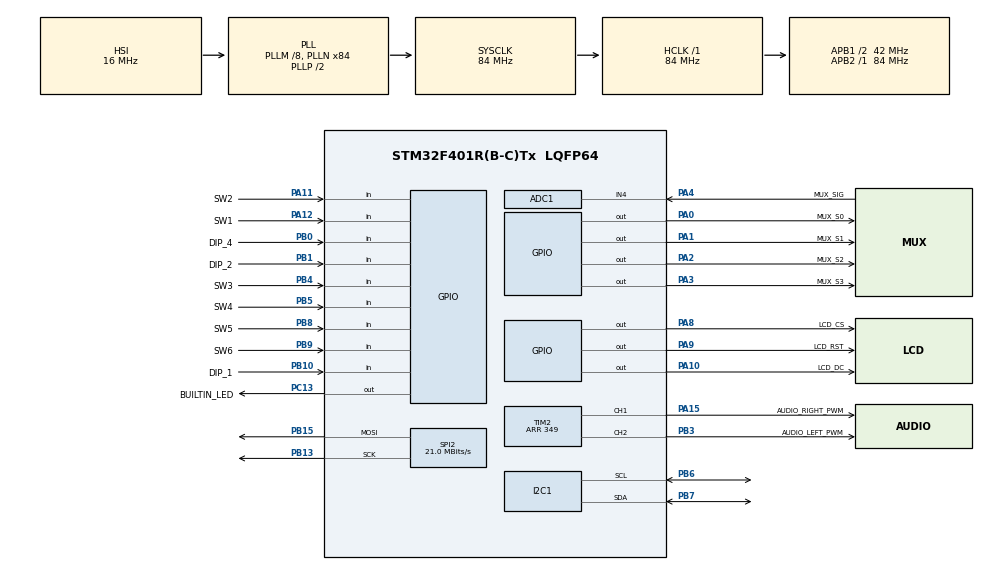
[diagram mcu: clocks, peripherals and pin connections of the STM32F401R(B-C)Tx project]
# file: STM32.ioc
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ADC1.Channel-1\#ChannelRegularConversion=ADC_CHANNEL_4
ADC1.NbrOfConversion=1
ADC1.NbrOfConversionFlag=1
ADC1.Rank-1\#ChannelRegularConversion=1
ADC1.SamplingTime-1\#ChannelRegularConversion=ADC_SAMPLETIME_3CYCLES
ADC1.master=1
Dma.I2C1_TX.0.Direction=DMA_MEMORY_TO_PERIPH
Dma.I2C1_TX.0.FIFOMode=DMA_FIFOMODE_DISABLE
Dma.I2C1_TX.0.Instance=DMA1_Stream6
Dma.I2C1_TX.0.MemDataAlignment=DMA_MDATAALIGN_BYTE
Dma.I2C1_TX.0.MemInc=DMA_MINC_ENABLE
Dma.I2C1_TX.0.Mode=DMA_NORMAL
Dma.I2C1_TX.0.PeriphDataAlignment=DMA_PDATAALIGN_BYTE
Dma.I2C1_TX.0.PeriphInc=DMA_PINC_DISABLE
Dma.I2C1_TX.0.Priority=DMA_PRIORITY_HIGH
Dma.Request0=I2C1_TX
I2C1.I2C_Mode=I2C_Fast
Mcu.Family=STM32F4
Mcu.Name=STM32F401R(B-C)Tx
Mcu.Package=LQFP64
NVIC.DMA1_Stream6_IRQn=true\:0\:0\:false\:false\:true\:false\:true\:true
NVIC.I2C1_EV_IRQn=true\:2\:0\:true\:false\:true\:true\:true\:true
NVIC.PriorityGroup=NVIC_PRIORITYGROUP_4
NVIC.TIM3_IRQn=true\:6\:0\:true\:false\:true\:true\:true\:true
NVIC.TIM4_IRQn=true\:1\:0\:true\:false\:true\:true\:true\:true
PA0-WKUP.GPIO_Label=MUX_S0
PA0-WKUP.Signal=GPIO_Output
PA1.GPIO_Label=MUX_S1
PA1.Signal=GPIO_Output
PA10.GPIO_Label=LCD_DC
PA10.GPIO_Speed=GPIO_SPEED_FREQ_HIGH
PA10.Signal=GPIO_Output
PA11.GPIO_Label=SW2
PA11.GPIO_PuPd=GPIO_PULLUP
PA11.Signal=GPIO_Input
PA12.GPIO_Label=SW1
PA12.GPIO_PuPd=GPIO_PULLUP
PA12.Signal=GPIO_Input
PA15.GPIO_Label=AUDIO_RIGHT_PWM
PA15.Signal=S_TIM2_CH1_ETR
PA2.GPIO_Label=MUX_S2
PA2.Signal=GPIO_Output
PA3.GPIO_Label=MUX_S3
PA3.Signal=GPIO_Output
PA4.GPIO_Label=MUX_SIG
PA4.Signal=ADCx_IN4
PA8.GPIO_Label=LCD_CS
PA8.GPIO_Speed=GPIO_SPEED_FREQ_HIGH
PA8.Signal=GPIO_Output
PA9.GPIO_Label=LCD_RST
PA9.GPIO_Speed=GPIO_SPEED_FREQ_HIGH
PA9.Signal=GPIO_Output
PB0.GPIO_Label=DIP_4
PB0.GPIO_PuPd=GPIO_PULLUP
PB0.Signal=GPIO_Input
PB1.GPIO_Label=DIP_2
PB1.GPIO_PuPd=GPIO_PULLUP
PB1.Signal=GPIO_Input
PB10.GPIO_Label=DIP_1
PB10.GPIO_PuPd=GPIO_PULLUP
PB10.Signal=GPIO_Input
PB13.Mode=TX_Only_Simplex_Unidirect_Master
PB13.Signal=SPI2_SCK
PB15.Mode=TX_Only_Simplex_Unidirect_Master
PB15.Signal=SPI2_MOSI
PB3.GPIO_Label=AUDIO_LEFT_PWM
PB3.Signal=S_TIM2_CH2
PB4.GPIO_Label=SW3
PB4.GPIO_PuPd=GPIO_PULLUP
PB4.Signal=GPIO_Input
PB5.GPIO_Label=SW4
PB5.GPIO_PuPd=GPIO_PULLUP
PB5.Signal=GPIO_Input
PB6.Mode=I2C
PB6.Signal=I2C1_SCL
PB7.Mode=I2C
PB7.Signal=I2C1_SDA
PB8.GPIO_Label=SW5
PB8.GPIO_PuPd=GPIO_PULLUP
PB8.Signal=GPIO_Input
PB9.GPIO_Label=SW6
PB9.GPIO_PuPd=GPIO_PULLUP
PB9.Signal=GPIO_Input
PC13-ANTI_TAMP.GPIO_Label=BUILTIN_LED
PC13-ANTI_TAMP.Signal=GPIO_Output
ProjectManager.HeapSize=0x200
ProjectManager.StackSize=0x400
ProjectManager.TargetToolchain=STM32CubeIDE
RCC.48MHZClocksFreq_Value=42000000
RCC.AHBFreq_Value=84000000
RCC.APB1CLKDivider=RCC_HCLK_DIV2
RCC.APB1Freq_Value=42000000
RCC.APB1TimFreq_Value=84000000
RCC.APB2Freq_Value=84000000
RCC.APB2TimFreq_Value=84000000
RCC.CortexFreq_Value=84000000
RCC.HCLKFreq_Value=84000000
RCC.HSE_VALUE=25000000
RCC.HSI_VALUE=16000000
RCC.LSE_VALUE=32768
RCC.PLLM=8
RCC.PLLN=84
RCC.SYSCLKFreq_VALUE=84000000
RCC.SYSCLKSource=RCC_SYSCLKSOURCE_PLLCLK
RCC.VCOOutputFreq_Value=168000000
SH.ADCx_IN4.0=ADC1_IN4,IN4
SH.S_TIM2_CH1_ETR.0=TIM2_CH1,PWM Generation1 CH1
SH.S_TIM2_CH2.0=TIM2_CH2,PWM Generation2 CH2
SPI2.BaudRatePrescaler=SPI_BAUDRATEPRESCALER_2
SPI2.CalculateBaudRate=21.0 MBits/s
SPI2.Direction=SPI_DIRECTION_2LINES
SPI2.Mode=SPI_MODE_MASTER
SPI2.VirtualType=VM_MASTER
TIM2.Channel-PWM\ Generation1\ CH1=TIM_CHANNEL_1
TIM2.Channel-PWM\ Generation2\ CH2=TIM_CHANNEL_2
TIM2.OC1Preload_PWM=DISABLE
TIM2.OC2Preload_PWM=DISABLE
TIM2.OCFastMode_PWM-PWM\ Generation1\ CH1=TIM_OCFAST_ENABLE
TIM2.OCFastMode_PWM-PWM\ Generation2\ CH2=TIM_OCFAST_ENABLE
TIM2.OCMode_PWM-PWM\ Generation1\ CH1=TIM_OCMODE_PWM2
TIM2.OCMode_PWM-PWM\ Generation2\ CH2=TIM_OCMODE_PWM2
TIM2.Period=349
TIM3.Period=(10000-1)
TIM3.Prescaler=(84-1)
TIM4.Period=(84000/12)-1
VP_TIM2_VS_ClockSourceINT.Mode=Internal
VP_TIM3_VS_ClockSourceINT.Mode=Internal
VP_TIM4_VS_ClockSourceINT.Mode=Internal
board=custom

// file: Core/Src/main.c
/* USER CODE BEGIN Header */
/**
  ******************************************************************************
  * @file           : main.c
  * @brief          : Main program body
  ******************************************************************************
  * @attention
  *
  * Copyright (c) 2026 STMicroelectronics.
  * All rights reserved.
  *
  * This software is licensed under terms that can be found in the LICENSE file
  * in the root directory of this software component.
  * If no LICENSE file comes with this software, it is provided AS-IS.
  *
  ******************************************************************************
  */
/* USER CODE END Header */
#include "main.h"
#include "adc.h"
#include "dma.h"
#include "i2c.h"
#include "spi.h"
#include "tim.h"
#include "gpio.h"

/* USER CODE BEGIN Includes */
#include "waveform.h"
#include "voice_manager.h"
#include "synth_comms.h"
#include "mux_adc.h"
#include "controls.h"
#include "audio_out.h"
#include "metronome.h"
#include "sine_lookup.h"
#include "adsr.h"
#include "autoplay.h"
#include "ui.h"
#include "ui_data.h"

#include <math.h>
#include <stdio.h>
/* USER CODE END Includes */

/* USER CODE BEGIN PD */
//#define TEST_WITHOUT_SLAVE
/* USER CODE END PD */

/* USER CODE BEGIN PV */
#ifdef IS_MASTER
WaveformConfig waveform_config =
{
    .rise_pct   = 0.50f,
    .fall_pct   = 0.50f,
    .rise_shape = WAVE_SINE,
    .fall_shape = WAVE_SINE,
    .max_output = 349.0f,
    .midpoint = 0.25f
};

VolumeOscillationParam volume_oscillator_param = {
    .frequency = 1.0f/2.0f,
    .completion = 0.0f,
    .strength = 0.00f
};

Autoplay autoplay = {
  //C const isn't compile-time const, use C++, so here's a NULL :D
  .steps = NULL,
  .step_started_ms = 0,
  .length = 0,
  .index = 0,
  .playing = false
};
const int8_t autoplay_pause_index = -1;
static int8_t autoplay_song_index = autoplay_pause_index;

//Set with adsr_set_params() at startup and by controls_update_adsr()
AdsrParam adsr_param;

VoiceManager voice_manager;
MetronomeParam metronome;
//Master volume can be from 0.0 to 10.0x, overdrive woo
float master_volume = 1.0f;
#endif
/* USER CODE END PV */

void SystemClock_Config(void);

/* USER CODE BEGIN 0 */
#ifdef IS_MASTER
static void update_test_c_major_chord(uint32_t now_ms);
static void handle_autoplay_button_pressed(uint32_t now_ms);
static float ui_adsr_rate_to_seconds(float rate);
static float waveform_get_point_as_amplitude(float phase);
static void update_ui_data(void);
static void test_key_velocity(uint32_t now_ms);
#endif
#ifndef IS_MASTER
static void mock_update_keyframe(void);
#endif

void main_runtime_iter(void)
{
  static uint32_t last_poll = 0;
  static uint32_t last_controls_poll = 0;
  uint32_t now = HAL_GetTick();

  #ifdef IS_MASTER
  controls_poll_tap(&metronome, &volume_oscillator_param);
  if(now - last_controls_poll >= 20){
	  controls_update(&waveform_config, &volume_oscillator_param, &master_volume, &metronome);
  	  controls_update_adsr(&adsr_param);
  	  handle_autoplay_button_pressed(now);
  	  last_controls_poll = now;
  }
  #endif
  if (now - last_poll >= 20)
  {
    last_poll = now;
    #ifdef IS_MASTER
    #ifdef TEST_WITHOUT_SLAVE
    //test_key_velocity(now);
    update_test_c_major_chord(now);
    #endif
    if(!autoplay.playing){
      poll_slaves();
    	process_keys(&voice_manager, voice_manager_note_on, voice_manager_note_off, now);
    }
    #else
    #endif
  }
}

/* USER CODE END 0 */

int main(void)
{

  /* MCU Configuration--------------------------------------------------------*/

  /* Reset of all peripherals, Initializes the Flash interface and the Systick. */
  HAL_Init();

  /* Configure the system clock */
  SystemClock_Config();

  /* Initialize all configured peripherals */
  MX_GPIO_Init();
  MX_DMA_Init();
  MX_TIM4_Init();
  MX_ADC1_Init();
  MX_I2C1_Init();
  MX_TIM2_Init();
  MX_TIM3_Init();
  MX_SPI2_Init();
  /* USER CODE BEGIN 2 */
  mux_adc_init();

  #ifdef IS_MASTER
  sine_lookup_init();
  adsr_set_params(&adsr_param, 0, 0, 1.0f, 0, AUDIO_SAMPLE_RATE_HZ);
  voice_manager_init(&voice_manager, AUDIO_SAMPLE_RATE_HZ, AUDIO_SAMPLE_RATE_HZ, &adsr_param);
  metronome_init(&metronome);
  audio_out_init(&voice_manager, &waveform_config, &volume_oscillator_param, &master_volume, &metronome);
  controls_init();
  HAL_TIM_PWM_Start(&htim2, TIM_CHANNEL_1);
  HAL_TIM_PWM_Start(&htim2, TIM_CHANNEL_2);
  HAL_TIM_Base_Start_IT(&htim3);
  HAL_TIM_Base_Start_IT(&htim4);
  set_audio_output_value(0, 0);
  mark_slaves_disconnected();
  ui_init();          /* boot screen first, so it shows during calibration */
  boot_calibrate();
  #else
  const uint32_t power_up_stabilise_ms = 100;
  HAL_Delay(power_up_stabilise_ms);
  uint8_t slave_id_from_dip = read_slave_id_from_dip();
  init_slave(slave_id_from_dip);
  //We rely on completed callback for self-calling and address changing, see request_slave_id_change()
  HAL_I2C_Slave_Transmit_DMA(&hi2c1,
                           (uint8_t *)&g_keyframe,
                           sizeof(g_keyframe));
  g_last_dma_complete_ms = HAL_GetTick();
  #endif

  #ifdef TEST_WITHOUT_SLAVE
  memset((void*)g_keys, 0, sizeof(g_keys));
  memset((void*)g_baseline, 0, sizeof(g_baseline));
  #endif

  /* USER CODE END 2 */

  /* Infinite loop */
  /* USER CODE BEGIN WHILE */
  while (1)
  {
    #ifdef IS_MASTER
    update_ui_data();
    ui_task();
    #else
    const uint8_t current_slave_id = read_slave_id_from_dip();
    if (current_slave_id != slave_id_from_dip) {
      slave_id_from_dip = current_slave_id;
      request_slave_id_change(slave_id_from_dip);
    }

    update_keyframe();

    if ((HAL_GetTick() - g_last_dma_complete_ms) > DMA_FREEZE_TIMEOUT_MS) {
      //Cannot rely on DMA completed callback to reset this, so will do manual DMA-bit disable
      CLEAR_BIT(hi2c1.Instance->CR2, I2C_CR2_DMAEN);
      I2C1_Reset();
      HAL_I2C_Slave_Transmit_DMA(&hi2c1,
                                 (uint8_t *)&g_keyframe,
                                 sizeof(g_keyframe));
      g_last_dma_complete_ms = HAL_GetTick();
      continue;
    }

    const volatile HAL_DMA_StateTypeDef dma_state = HAL_DMA_GetState(hi2c1.hdmatx);
    const volatile uint32_t dma_error = HAL_DMA_GetError(hi2c1.hdmatx);
    volatile const I2C_HandleTypeDef ref = hi2c1;
    if(dma_state);
    #endif

    /* USER CODE END WHILE */

  }
}

void SystemClock_Config(void)
{
  RCC_OscInitTypeDef RCC_OscInitStruct = {0};
  RCC_ClkInitTypeDef RCC_ClkInitStruct = {0};

  /** Configure the main internal regulator output voltage
  */
  __HAL_RCC_PWR_CLK_ENABLE();
  __HAL_PWR_VOLTAGESCALING_CONFIG(PWR_REGULATOR_VOLTAGE_SCALE2);

  /** Initializes the RCC Oscillators according to the specified parameters
  * in the RCC_OscInitTypeDef structure.
  */
  RCC_OscInitStruct.OscillatorType = RCC_OSCILLATORTYPE_HSI;
  RCC_OscInitStruct.HSIState = RCC_HSI_ON;
  RCC_OscInitStruct.HSICalibrationValue = RCC_HSICALIBRATION_DEFAULT;
  RCC_OscInitStruct.PLL.PLLState = RCC_PLL_ON;
  RCC_OscInitStruct.PLL.PLLSource = RCC_PLLSOURCE_HSI;
  RCC_OscInitStruct.PLL.PLLM = 8;
  RCC_OscInitStruct.PLL.PLLN = 84;
  RCC_OscInitStruct.PLL.PLLP = RCC_PLLP_DIV2;
  RCC_OscInitStruct.PLL.PLLQ = 4;
  if (HAL_RCC_OscConfig(&RCC_OscInitStruct) != HAL_OK)
  {
    Error_Handler();
  }

  /** Initializes the CPU, AHB and APB buses clocks
  */
  RCC_ClkInitStruct.ClockType = RCC_CLOCKTYPE_HCLK|RCC_CLOCKTYPE_SYSCLK
                              |RCC_CLOCKTYPE_PCLK1|RCC_CLOCKTYPE_PCLK2;
  RCC_ClkInitStruct.SYSCLKSource = RCC_SYSCLKSOURCE_PLLCLK;
  RCC_ClkInitStruct.AHBCLKDivider = RCC_SYSCLK_DIV1;
  RCC_ClkInitStruct.APB1CLKDivider = RCC_HCLK_DIV2;
  RCC_ClkInitStruct.APB2CLKDivider = RCC_HCLK_DIV1;

  if (HAL_RCC_ClockConfig(&RCC_ClkInitStruct, FLASH_LATENCY_2) != HAL_OK)
  {
    Error_Handler();
  }
}

/* USER CODE BEGIN 4 */
#ifdef IS_MASTER
static void update_test_c_major_chord(uint32_t now_ms)
{
  static uint32_t last_change_ms = 0;
  static uint8_t stage = 0;
  static const uint8_t key_ids[] = {
    C3, E3, G3,
    C4, E4, G4,
    C5, E5, G5
  };
  const uint8_t key_count = sizeof(key_ids) / sizeof(key_ids[0]);

  if (now_ms - last_change_ms < 2000)
    return;

  last_change_ms = now_ms;

  if (stage < key_count) {
    const uint8_t key_id = key_ids[stage];
    const uint8_t slave = key_id / 12;
    const uint8_t key = key_id % 12;
    g_keys[slave][key] = g_baseline[slave][key] + PRESS_THRESHOLD + 1;
    stage++;
  } else {
    for (uint8_t i = 0; i < key_count; ++i) {
      const uint8_t slave = key_ids[i] / 12;
      const uint8_t key = key_ids[i] % 12;
      g_keys[slave][key] = g_baseline[slave][key];
    }
    stage = 0;
  }
}

static void test_key_velocity(uint32_t now_ms){
  static uint32_t last_event_ms = 0;
  static uint32_t event_period_ms = 1;
  const uint32_t key_hold_ms = 2000;
  const uint32_t key_release_ms = 1000;
  const uint16_t move_trigger = MOVE_THRESHOLD + 1;
  const uint16_t press_trigger = PRESS_THRESHOLD + 1;

  const uint8_t key_not_pressed = g_keys[4][0] == g_baseline[4][0];
  if(key_not_pressed){
    if(now_ms - last_event_ms >= key_release_ms){
      g_keys[4][0] = g_baseline[4][0] + move_trigger;
      last_event_ms = now_ms;
    }
    return;
  }
  const uint8_t key_moved = g_keys[4][0] == g_baseline[4][0] + move_trigger;
  if(key_moved){
    if(now_ms - last_event_ms >= event_period_ms){
      g_keys[4][0] = g_baseline[4][0] + press_trigger;
      last_event_ms = now_ms;
    }
    return;
  }
  const uint8_t key_pressed = g_keys[4][0] == g_baseline[4][0] + press_trigger;
  if(key_pressed){
    if(now_ms - last_event_ms >= key_hold_ms){
      g_keys[4][0] = g_baseline[4][0];
      event_period_ms = (event_period_ms >= 200) ? event_period_ms : event_period_ms*2;
      last_event_ms = now_ms;
    }
    return;
  }
}

static float ui_adsr_rate_to_seconds(float rate)
{
  if (rate >= 1.0f || rate <= 0.0f)
    return 0.0f;
  return 1.0f * AUDIO_SAMPLE_PERIOD / rate;
}

static float waveform_get_point_as_amplitude(float phase)
{
  const float sample = (float)waveform_get_point(phase, &waveform_config);
  const float peak_as_one = 2.0f;
  const float wave_center_as_zero = -1.0f;
  if (waveform_config.max_output <= 0.0f)
    return 0.0f;
  return ((sample/waveform_config.max_output)*peak_as_one) + wave_center_as_zero;
}

static void update_ui_data(void)
{
  ui_data.wave_sample = waveform_get_point_as_amplitude;
  ui_data.rise_pct = waveform_config.rise_pct * 100.0f;
  ui_data.fall_pct = waveform_config.fall_pct * 100.0f;

  ui_data.adsr_valid = true;
  ui_data.attack_s = ui_adsr_rate_to_seconds(adsr_param.attack_rate);
  ui_data.decay_s = ui_adsr_rate_to_seconds(adsr_param.decay_rate);
  ui_data.sustain = adsr_param.sustain_level;
  ui_data.release_s = ui_adsr_rate_to_seconds(adsr_param.release_rate);

  ui_data.lfo_depth = volume_oscillator_param.strength;
  ui_data.lfo_hz = volume_oscillator_param.frequency;

  ui_data.bpm_valid = true;
  ui_data.bpm = metronome_get_bpm(&metronome);
  ui_data.lfo_division = metronome.tap_active
      ? vosc_beat_division_label(ui_data.bpm, volume_oscillator_param.frequency)
      : NULL;

  ui_data.volume_valid = true;
  ui_data.volume = master_volume;

  if(autoplay_song_index == autoplay_pause_index)
    ui_data.autoplay_label = NULL;
  else
    ui_data.autoplay_label = autoplay_song_list.labels[autoplay_song_index];

  ui_data.wave_center_pwm_valid = true;
  ui_data.wave_center_pwm_pct = waveform_config.midpoint * 100.0f;

  ui_data.filter_valid = false;

  /* idle-screen activity the screen can't see by itself:
     a key held down or the tap button pressed keeps the screen awake */
  for (int sl = 0; sl < SLAVE_SLOTS; sl++)
    for (int k = 0; k < 12; k++)
      if (g_key_state[sl][k] == KEY_PRESSED) ui_notify_activity();
  if (HAL_GPIO_ReadPin(SW4_GPIO_Port, SW4_Pin) == GPIO_PIN_RESET)
    ui_notify_activity();
}

static void handle_autoplay_button_pressed(uint32_t now_ms)
{
    static GPIO_PinState autoplay_button_last = GPIO_PIN_SET;
    const GPIO_PinState autoplay_button_status =
        HAL_GPIO_ReadPin(GPIOB, GPIO_PIN_4);

    const uint8_t autoplay_button_pressed =
        autoplay_button_last == GPIO_PIN_SET &&
        autoplay_button_status == GPIO_PIN_RESET;

    if (autoplay_button_pressed)
    {
        ui_notify_activity();
        voice_manager_all_off(&voice_manager);

        autoplay_song_index++;

        if (autoplay_song_index >= AUTOPLAY_SONG_COUNT)
        {
            autoplay_stop(&autoplay, &voice_manager);
            autoplay_song_index = -1;
        }
        else
        {
            autoplay.steps =
                autoplay_song_list.steps[autoplay_song_index];

            autoplay.length =
                autoplay_song_list.lengths[autoplay_song_index];

            autoplay_start(&autoplay, &voice_manager, now_ms);
        }
    }

    autoplay_button_last = autoplay_button_status;

    autoplay_update(&autoplay, &voice_manager, now_ms);
}
#endif

#ifndef IS_MASTER
static void mock_update_keyframe(void)
{
  static uint8_t first_packet = 1;
  static const uint8_t chord_keys[] = { 0, 4, 7 };

  for (uint8_t key = 0; key < 12; ++key)
    g_keyframe.adc[key] = 0;

  /* Keep the first packet at baseline for master boot calibration. */
  if (first_packet)
  {
    first_packet = 0;
    return;
  }

  for (uint8_t i = 0; i < sizeof(chord_keys); ++i)
    g_keyframe.adc[chord_keys[i]] = PRESS_THRESHOLD + 1;
}
#endif

/* USER CODE END 4 */

void Error_Handler(void)
{
  __disable_irq();
  while (1)
  {
  }
}
